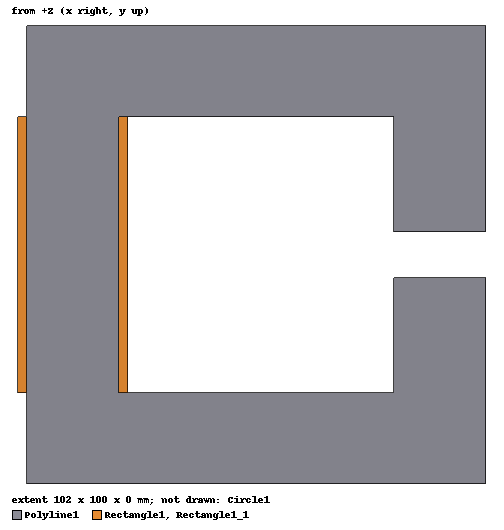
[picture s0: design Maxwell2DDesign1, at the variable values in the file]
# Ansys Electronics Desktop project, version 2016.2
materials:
  vacuum: permittivity=1
  iron: permeability=4000 conductivity=10300000
  copper: permeability=0.999991 conductivity=58000000
  air: permittivity=1.0006 permeability=1.0000004
  ferrite: permittivity=12 permeability=1000 conductivity=0.01
  steel_1010: permittivity=1 permeability{BType=normal HUnit=A_per_meter BUnit=tesla curve (0, 0) (238.7, 0.2003) (318.3, 0.3204) (358.1, 0.40045) (437.7, 0.50055) (477.5, 0.5606) (636.6, 0.7908) (795.8, 0.931) (1114.1, 1.1014) (1273.2, 1.2016) (1591.5, 1.302) (2228.2, 1.4028) (3183.1, 1.524) (4774.6, 1.626) (6366.2, 1.698) (7957.7, 1.73) (15915.5, 1.87) (31831, 1.99) (47746.5, 2.04) (63662, 2.07) (79577.5, 2.095) (159155, 2.2) (318310, 2.4)} conductivity=2000000 lande_g_factor=2
  Ceramic5: permittivity=1 permeability{BType=normal HUnit=A_per_meter BUnit=tesla curve (-190986, 0) (-190190, 0.1) (-188996, 0.12) (-187007, 0.1325) (-183028, 0.145) (-175070, 0.1575) (-167113, 0.1675) (-159155, 0.18) (-139261, 0.21) (-119366, 0.23501) (-79577.5, 0.2875) (-39788.7, 0.341) (0, 0.395)} conductivity=0.0001 magnetic_coercivity{Magnitude=-190986A_per_meter DirComp1=1 DirComp2=0 DirComp3=0} lande_g_factor=2
  Ceramic8D: permittivity=1 permeability{BType=normal HUnit=A_per_meter BUnit=tesla curve (-266585, 0) (-262606, 0.04) (-254648, 0.061) (-246690, 0.0775) (-238732, 0.0875) (-198944, 0.14) (-159155, 0.1925) (-119366, 0.245) (-79577.5, 0.2975) (-39788.7, 0.35) (0, 0.4)} conductivity=0.0001 magnetic_coercivity{Magnitude=-266585A_per_meter DirComp1=1 DirComp2=0 DirComp3=0} lande_g_factor=2
  steelweek1: permeability{BType=normal HUnit=A_per_meter BUnit=tesla curve (0, 0) (50, 0.06) (100, 0.12) (250, 0.3) (500, 0.6) (1000, 1.2) (1500, 1.37) (2000, 1.47) (3000, 1.5) (4000, 1.51) (6000, 1.52) (10000, 1.53)}
  ironweek1: permeability{BType=normal HUnit=A_per_meter BUnit=tesla curve (0, 0) (50, 0.06) (100, 0.12) (150, 0.15) (500, 0.2) (750, 0.25) (1000, 0.3) (1500, 0.4) (2000, 0.5) (3000, 0.58) (4000, 0.6) (5000, 0.61) (8000, 0.63)}

design Maxwell2DDesign1 (Maxwell 2D, Magnetostatic, XY geometry, model units mm)
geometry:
  Polyline1 [steelweek1] = polyline(z=0mm, xy in mm: (10000, 50000) (10000, 49900) (10100, 49900) (10100, 49945) (10080, 49945) (10080, 49920) (10020, 49920) (10020, 49980) (10080, 49980) (10080, 49955) (10100, 49955) (10100, 50000) (10000, 50000), closed, covered)
  Rectangle1 [copper] = rectangle(corner=(10022mm, 49980mm, 0mm), x_size=-2mm, y_size=-60mm)
  Rectangle1_1 [copper] = Rectangle1.duplicate_mirror(point=(10010mm, 49950mm, 0mm), normal=(-1mm, 0mm, 0mm))
  Circle1 [vacuum] = circle(normal=Z, centre=(10050mm, 49950mm, 0mm), radius=223.6068mm)
  Polyline2 [non-model] = polyline((10050mm, 49950mm, 0mm) (10155mm, 49950mm, 0mm))
  Polyline3 = polyline((10020mm, 49948mm, 0mm) (10000mm, 49948mm, 0mm))
  Polyline4 = polyline((9998mm, 49948mm, 0mm) (9950mm, 49948mm, 0mm))
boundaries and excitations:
  Balloon1: Balloon Edges=Circle1.edge(1 of 1)
  Current1: Current Objects=Rectangle1_1 Current=120kA IsPositive=true
  Current2: Current Objects=Rectangle1 Current=120kA IsPositive=false
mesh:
  initial mesh: MeshMethod=AnsoftClassic
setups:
  Setup1: Magnetostatic MaximumPasses=10 MinimumPasses=2 MinimumConvergedPasses=1 PercentRefinement=30 PercentError=1 NonLinearResidual=0.0001
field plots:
  Mag_B1: B1 over Circle1, Polyline1 on Setup1 : LastAdaptive
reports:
  XY Plot 1: Mag_B vs Distance on Setup1 : LastAdaptive
